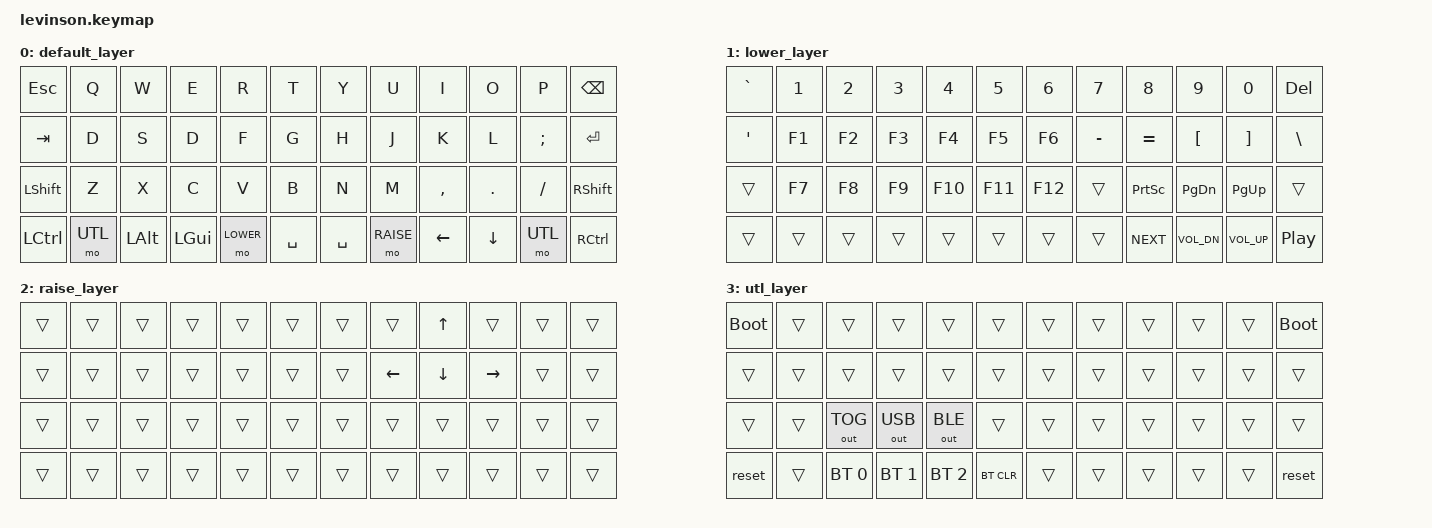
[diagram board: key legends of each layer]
/*
 * Copyright (c) 2020 The ZMK Contributors
 *
 * SPDX-License-Identifier: MIT
 */

 #include <behaviors.dtsi>
 #include <dt-bindings/zmk/keys.h>
 #include <dt-bindings/zmk/bt.h>
 #include <dt-bindings/zmk/rgb.h>
 #include <dt-bindings/zmk/ext_power.h>
 #include <dt-bindings/zmk/outputs.h>

 #define DEFAULT 0
 #define LOWER  1
 #define RAISE  2
 #define UTL 3

/* NOTE: At the time of the creation of this keymap, there are no specified codes for 'eisuu' and 'kana' input in ZMK.
However, 'LANG1' and 'LANG2' are fully-functioning candidates for 'kana' and 'eisuu' input respectively.
As such, those are in use within the default layer at this time.*/

/ {
       keymap {
              compatible = "zmk,keymap";

              default_layer {
 // ---------------------------------------------------------------------------------------------------------------------------------
 // |  TAB   |   Q    |   W    |   E    |   R    |   T    |   Y    |   U    |   I    |   O    |   P    |  BSPC  |
 // |  CTRL  |   A    |   S    |   D    |   F    |   G    |   H    |   J    |   K    |   L    |   ;    |  RET   |
 // |  SHIFT |   Z    |   X    |   C    |   V    |   B    |   N    |   M    |   ,    |   .    |   /    |  SHIFT |
 // |  CTRL  |  UTL   |  ALT   |  LGUI  | LOWER  | SPACE  | SPACE  |  RAISE |  LEFT  |  DOWN  |  UTL   |  CTRL  |
                     bindings = <
       &kp ESC    &kp Q   &kp W    &kp E    &kp R     &kp T     &kp Y     &kp U     &kp I     &kp O      &kp P     &kp BSPC
       &kp TAB    &kp D   &kp S    &kp D    &kp F     &kp G     &kp H     &kp J     &kp K     &kp L      &kp SEMI  &kp RET
       &kp LSHFT  &kp Z   &kp X    &kp C    &kp V     &kp B     &kp N     &kp M     &kp COMMA &kp PERIOD &kp SLASH &kp RSHFT
       &kp LCTRL  &mo UTL &kp LALT &kp LGUI &mo LOWER &kp SPACE &kp SPACE &mo RAISE &kp LEFT  &kp DOWN   &mo UTL   &kp RCTRL
                     >;
              };
              lower_layer {
 // ---------------------------------------------------------------------------------------------------------------------------------
 // |   `   |   1   |   2   |   3   |   4   |   5   |   6   |   7   |   8   |   9   |   0   |  DEL  |
 // |   '   |  F1   |  F2   |  F3   |  F4   |  F5   |  F6   |   -   |   =   |   [   |   ]   |   \   |
 // |       |  F7   |  F8   |  F9   |  F10  |  F11  |  F12  |       | PSCRN | PG_DN | PG_UP |       |
 // |       |       |       |       |       |       |       |       | NEXT  | VOL-  | VOL+  | PLAY  |
                     bindings = <
       &kp GRAVE &kp N1 &kp N2 &kp N3 &kp N4  &kp N5  &kp N6  &kp N7    &kp N8     &kp N9       &kp N0       &kp DEL
       &kp SQT   &kp F1 &kp F2 &kp F3 &kp F4  &kp F5  &kp F6  &kp MINUS &kp EQUAL  &kp LBKT     &kp RBKT     &kp BSLH
       &trans    &kp F7 &kp F8 &kp F9 &kp F10 &kp F11 &kp F12 &trans    &kp PSCRN  &kp PG_DN    &kp PG_UP    &trans
       &trans    &trans &trans &trans &trans  &trans  &trans  &trans    &kp C_NEXT &kp C_VOL_DN &kp C_VOL_UP &kp C_PP
                     >;
              };
              raise_layer {
 // ---------------------------------------------------------------------------------------------------------------------------------
 // |  ~   |  !   |  @   |  #   |  $   |  %   |  ^   |  &   |  *   |  (   |  )   |      |
 // |      |      |      |      |      |      |      |  _   |  +   |  {   |  }   | PIPE |
 // |      |      |      |      |      |      |      |      |      | HOME | END  |      |
 // |      |      |      |      |      |      |      |      |      |      |      |      |
                     bindings = <
       &trans    &trans   &trans &trans   &trans   &trans    &trans    &trans    &kp UP   &trans    &trans   &trans
       &trans    &trans   &trans &trans   &trans   &trans    &trans    &kp LEFT  &kp DOWN &kp RIGHT &trans   &trans
       &trans    &trans   &trans &trans   &trans   &trans    &trans    &trans    &trans   &trans    &trans   &trans
       &trans    &trans   &trans &trans   &trans   &trans    &trans    &trans    &trans   &trans    &trans   &trans
                     >;
              };
              utl_layer {
 // ---------------------------------------------------------------------------------------------------------------------------------
 // |  BT CLR  | BT SEL0  | BT SEL1  | BT SEL2  | BGT SEL3 | BT SEL4  | RGB EFF+ | RGB HUE+ | RGB SAT+ | RGB SPD+ | RGB BRI+ | RGB TOG  |
 // |  BT NXT  | OUT TOG  | OUT USB  | OUT BLE  |          |          | RGB EFF- | RGB HUE- | RGB SAT- | RGB SPD- | RGB BRI- |          |
 // |  BT PRV  |          |          |          |          |          |          |          |          |          |          |          |
 // |          |          |          |          |          |          |          |          |          |          |          |          |
                     bindings = <
       &bootloader &trans &trans       &trans       &trans       &trans        &trans &trans &trans &trans &trans &bootloader
       &trans      &trans &trans       &trans       &trans       &trans        &trans &trans &trans &trans &trans &trans
       &trans      &trans &out OUT_TOG &out OUT_USB &out OUT_BLE &trans        &trans &trans &trans &trans &trans &trans
       &reset      &trans &bt BT_SEL 0 &bt BT_SEL 1 &bt BT_SEL 2 &bt BT_CLR    &trans &trans &trans &trans &trans &reset
                     >;
              };
       };
};
